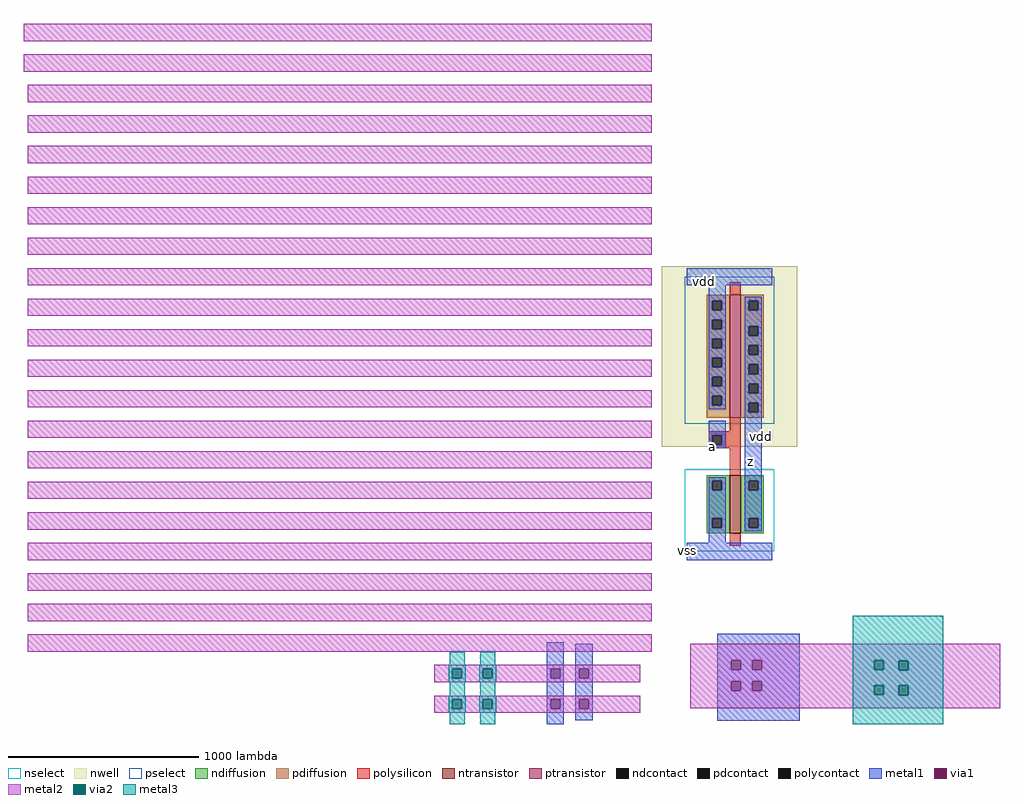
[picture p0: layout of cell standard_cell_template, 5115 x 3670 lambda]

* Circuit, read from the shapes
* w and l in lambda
.subckt standard_cell_template z a vdd vss
M1 z a vss VSUBS nfet w=305 l=60
M2 z a vdd vdd pfet w=645 l=60
.ends

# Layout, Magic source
magic
tech amic5n
magscale 1 2
<< nwell >>
rect 1115 1100 2535 2990
<< ntransistor >>
rect 1825 190 1945 800
<< ptransistor >>
rect 1825 1400 1945 2690
<< nselect >>
rect 1355 0 2295 860
<< pselect >>
rect 1355 1340 2295 2880
<< ndiffusion >>
rect 1585 740 1825 800
rect 1585 640 1645 740
rect 1745 640 1825 740
rect 1585 350 1825 640
rect 1585 250 1645 350
rect 1745 250 1825 350
rect 1585 190 1825 250
rect 1945 740 2185 800
rect 1945 640 2025 740
rect 2125 640 2185 740
rect 1945 350 2185 640
rect 1945 250 2025 350
rect 2125 250 2185 350
rect 1945 190 2185 250
<< pdiffusion >>
rect 1585 2630 1825 2690
rect 1585 2530 1645 2630
rect 1745 2530 1825 2630
rect 1585 2430 1825 2530
rect 1585 2330 1645 2430
rect 1745 2330 1825 2430
rect 1585 2230 1825 2330
rect 1585 2130 1645 2230
rect 1745 2130 1825 2230
rect 1585 2030 1825 2130
rect 1585 1930 1645 2030
rect 1745 1930 1825 2030
rect 1585 1830 1825 1930
rect 1585 1730 1645 1830
rect 1745 1730 1825 1830
rect 1585 1630 1825 1730
rect 1585 1530 1645 1630
rect 1745 1530 1825 1630
rect 1585 1400 1825 1530
rect 1945 2630 2185 2690
rect 1945 2530 2025 2630
rect 2125 2530 2185 2630
rect 1945 2360 2185 2530
rect 1945 2260 2025 2360
rect 2125 2260 2185 2360
rect 1945 2160 2185 2260
rect 1945 2060 2025 2160
rect 2125 2060 2185 2160
rect 1945 1960 2185 2060
rect 1945 1860 2025 1960
rect 2125 1860 2185 1960
rect 1945 1760 2185 1860
rect 1945 1660 2025 1760
rect 2125 1660 2185 1760
rect 1945 1560 2185 1660
rect 1945 1460 2025 1560
rect 2125 1460 2185 1560
rect 1945 1400 2185 1460
<< ndcontact >>
rect 1645 640 1745 740
rect 1645 250 1745 350
rect 2025 640 2125 740
rect 2025 250 2125 350
<< pdcontact >>
rect 1645 2530 1745 2630
rect 1645 2330 1745 2430
rect 1645 2130 1745 2230
rect 1645 1930 1745 2030
rect 1645 1730 1745 1830
rect 1645 1530 1745 1630
rect 2025 2530 2125 2630
rect 2025 2260 2125 2360
rect 2025 2060 2125 2160
rect 2025 1860 2125 1960
rect 2025 1660 2125 1760
rect 2025 1460 2125 1560
<< polysilicon >>
rect 1825 2690 1945 2820
rect 1825 1260 1945 1400
rect 1605 1220 1945 1260
rect 1605 1120 1645 1220
rect 1745 1120 1945 1220
rect 1605 1080 1945 1120
rect 1825 800 1945 1080
rect 1825 60 1945 190
<< polycontact >>
rect 1645 1120 1745 1220
<< metal1 >>
rect 1375 2790 2275 2970
rect 1605 2630 1785 2790
rect 1605 2530 1645 2630
rect 1745 2530 1785 2630
rect 1605 2430 1785 2530
rect 1605 2330 1645 2430
rect 1745 2330 1785 2430
rect 1605 2230 1785 2330
rect 1605 2130 1645 2230
rect 1745 2130 1785 2230
rect 1605 2030 1785 2130
rect 1605 1930 1645 2030
rect 1745 1930 1785 2030
rect 1605 1830 1785 1930
rect 1605 1730 1645 1830
rect 1745 1730 1785 1830
rect 1605 1630 1785 1730
rect 1605 1530 1645 1630
rect 1745 1530 1785 1630
rect 1605 1490 1785 1530
rect 1985 2630 2165 2670
rect 1985 2530 2025 2630
rect 2125 2530 2165 2630
rect 1985 2360 2165 2530
rect 1985 2260 2025 2360
rect 2125 2260 2165 2360
rect 1985 2160 2165 2260
rect 1985 2060 2025 2160
rect 2125 2060 2165 2160
rect 1985 1960 2165 2060
rect 1985 1860 2025 1960
rect 2125 1860 2165 1960
rect 1985 1760 2165 1860
rect 1985 1660 2025 1760
rect 2125 1660 2165 1760
rect 1985 1560 2165 1660
rect 1985 1460 2025 1560
rect 2125 1460 2165 1560
rect 1605 1220 1785 1370
rect 1605 1120 1645 1220
rect 1745 1120 1785 1220
rect 1605 1080 1785 1120
rect 1605 740 1785 780
rect 1605 640 1645 740
rect 1745 640 1785 740
rect 1605 350 1785 640
rect 1605 250 1645 350
rect 1745 250 1785 350
rect 1605 90 1785 250
rect 1985 740 2165 1460
rect 1985 640 2025 740
rect 2125 640 2165 740
rect 1985 350 2165 640
rect 1985 250 2025 350
rect 2125 250 2165 350
rect 1985 210 2165 250
rect 1375 -90 2275 90
rect -90 -1230 90 -950
rect -90 -1330 -50 -1230
rect 50 -1330 90 -1230
rect -90 -1550 90 -1330
rect -90 -1650 -50 -1550
rect 50 -1650 90 -1550
rect -90 -1810 90 -1650
rect 210 -1230 390 -970
rect 210 -1330 250 -1230
rect 350 -1330 390 -1230
rect 210 -1550 390 -1330
rect 210 -1650 250 -1550
rect 350 -1650 390 -1550
rect 210 -1770 390 -1650
rect 1695 -1140 2560 -865
rect 1695 -1240 1845 -1140
rect 1945 -1240 2065 -1140
rect 2165 -1240 2560 -1140
rect 1695 -1360 2560 -1240
rect 1695 -1460 1845 -1360
rect 1945 -1460 2065 -1360
rect 2165 -1460 2560 -1360
rect 1695 -1775 2560 -1460
<< via1 >>
rect -50 -1330 50 -1230
rect -50 -1650 50 -1550
rect 250 -1330 350 -1230
rect 250 -1650 350 -1550
rect 1845 -1240 1945 -1140
rect 2065 -1240 2165 -1140
rect 1845 -1460 1945 -1360
rect 2065 -1460 2165 -1360
<< metal2 >>
rect -5570 5350 1010 5530
rect -5570 5030 1010 5210
rect -5530 4710 1010 4890
rect -5530 4390 1010 4570
rect -5530 4070 1010 4250
rect -5530 3750 1010 3930
rect -5530 3430 1010 3610
rect -5530 3110 1010 3290
rect -5530 2790 1010 2970
rect -5530 2470 1010 2650
rect -5530 2150 1010 2330
rect -5530 1830 1010 2010
rect -5530 1510 1010 1690
rect -5530 1190 1010 1370
rect -5530 870 1010 1050
rect -5530 550 1010 730
rect -5530 230 1010 410
rect -5530 -90 1010 90
rect -5530 -410 1010 -230
rect -5530 -730 1010 -550
rect -5530 -1050 1010 -870
rect 1415 -1140 4660 -965
rect -1270 -1230 890 -1190
rect -1270 -1330 -1080 -1230
rect -980 -1330 -760 -1230
rect -660 -1330 -50 -1230
rect 50 -1330 250 -1230
rect 350 -1330 890 -1230
rect -1270 -1370 890 -1330
rect 1415 -1240 1845 -1140
rect 1945 -1240 2065 -1140
rect 2165 -1240 3340 -1140
rect 3440 -1145 4660 -1140
rect 3440 -1240 3600 -1145
rect 1415 -1245 3600 -1240
rect 3700 -1245 4660 -1145
rect 1415 -1360 4660 -1245
rect 1415 -1460 1845 -1360
rect 1945 -1460 2065 -1360
rect 2165 -1400 4660 -1360
rect 2165 -1460 3340 -1400
rect 1415 -1500 3340 -1460
rect 3440 -1405 4660 -1400
rect 3440 -1500 3600 -1405
rect 1415 -1505 3600 -1500
rect 3700 -1505 4660 -1405
rect -1270 -1550 890 -1510
rect -1270 -1650 -1080 -1550
rect -980 -1650 -760 -1550
rect -660 -1650 -50 -1550
rect 50 -1650 250 -1550
rect 350 -1650 890 -1550
rect 1415 -1645 4660 -1505
rect -1270 -1690 890 -1650
<< via2 >>
rect -1080 -1330 -980 -1230
rect -760 -1330 -660 -1230
rect 3340 -1240 3440 -1140
rect 3600 -1245 3700 -1145
rect 3340 -1500 3440 -1400
rect 3600 -1505 3700 -1405
rect -1080 -1650 -980 -1550
rect -760 -1650 -660 -1550
<< metal3 >>
rect -1110 -1190 -950 -1050
rect -790 -1190 -630 -1050
rect 3115 -1140 4065 -675
rect -1120 -1230 -940 -1190
rect -1120 -1330 -1080 -1230
rect -980 -1330 -940 -1230
rect -1120 -1370 -940 -1330
rect -800 -1230 -620 -1190
rect -800 -1330 -760 -1230
rect -660 -1330 -620 -1230
rect -800 -1370 -620 -1330
rect 3115 -1240 3340 -1140
rect 3440 -1145 4065 -1140
rect 3440 -1240 3600 -1145
rect 3115 -1245 3600 -1240
rect 3700 -1245 4065 -1145
rect -1110 -1510 -950 -1370
rect -790 -1510 -630 -1370
rect 3115 -1400 4065 -1245
rect 3115 -1500 3340 -1400
rect 3440 -1405 4065 -1400
rect 3440 -1500 3600 -1405
rect 3115 -1505 3600 -1500
rect 3700 -1505 4065 -1405
rect -1120 -1550 -940 -1510
rect -1120 -1650 -1080 -1550
rect -980 -1650 -940 -1550
rect -1120 -1690 -940 -1650
rect -800 -1550 -620 -1510
rect -800 -1650 -760 -1550
rect -660 -1650 -620 -1550
rect -800 -1690 -620 -1650
rect -1110 -1810 -950 -1690
rect -790 -1810 -630 -1690
rect 3115 -1810 4065 -1505
<< labels >>
flabel metal1 s 1565 2830 1565 2830 2 FreeSans 800 0 0 0 vdd
port 2 ne
flabel nwell 2165 1200 2165 1200 2 FreeSans 800 0 0 0 vdd
flabel metal1 s 2045 940 2045 940 2 FreeSans 800 0 0 0 z
port 0 ne
flabel metal1 s 1645 1100 1645 1100 2 FreeSans 800 0 0 0 a
port 1 ne
flabel metal1 s 1385 10 1385 10 2 FreeSans 800 0 0 0 vss
port 3 ne
<< end >>
